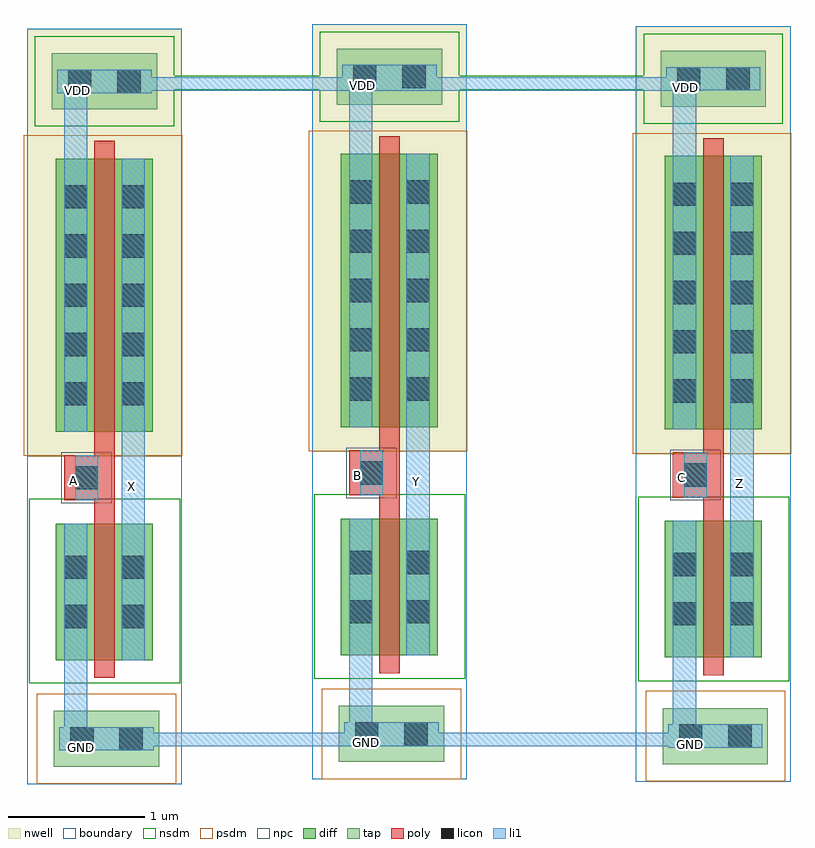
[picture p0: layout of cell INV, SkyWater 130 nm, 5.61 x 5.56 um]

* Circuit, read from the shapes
.subckt INV A B C GND VDD X Y Z
XM1 X A GND GND sky130_fd_pr__nfet_01v8 w=1 l=0.15
XM2 Y B GND GND sky130_fd_pr__nfet_01v8 w=1 l=0.15
XM3 Z C GND GND sky130_fd_pr__nfet_01v8 w=1 l=0.15
XM4 X A VDD VDD sky130_fd_pr__pfet_01v8 w=2 l=0.15
XM5 Y B VDD VDD sky130_fd_pr__pfet_01v8 w=2 l=0.15
XM6 Z C VDD VDD sky130_fd_pr__pfet_01v8 w=2 l=0.15
.ends

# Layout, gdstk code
from math import pi, radians
import gdstk
lib = gdstk.Library(unit=1e-6, precision=1e-09)
def R(c, l, rs):  # rectangles x0, y0, x1, y1
    for r in rs: c.add(gdstk.rectangle(r[:2], r[2:], *l))
def A(c, l, x, y, w, h, nx, ny, dx, dy):  # array of equal rectangles
    R(c, l, [(x+i*dx, y+j*dy, x+i*dx+w, y+j*dy+h) for i in range(nx) for j in range(ny)])
def P(c, l, *ps):  # polygons
    for p in ps: c.add(gdstk.Polygon(p, *l))
nwell = (64, 20)
diff = (65, 20)
tap = (65, 44)
poly = (66, 20)
licon = (66, 44)
li1 = (67, 20)
nsdm = (93, 44)
psdm = (94, 20)
npc = (95, 20)
boundary = (235, 4)

mosfet_2 = lib.new_cell('MOSFET$2')
R(mosfet_2, nwell, [(-0.325,-0.18,0.745,2.18)])
R(mosfet_2, diff, [(-0.145,0,0.565,2)])
R(mosfet_2, poly, [(0.135,-0.13,0.285,2.13)])
A(mosfet_2, licon, -0.085, 0.195, 0.17, 0.17, 1, 5, 0, 0.36)
A(mosfet_2, licon, 0.335, 0.195, 0.17, 0.17, 1, 5, 0, 0.36)
R(mosfet_2, li1, [(-0.085,0,0.085,2), (0.335,0,0.505,2)])
R(mosfet_2, psdm, [(-0.27,-0.125,0.69,2.125)])
R(mosfet_2, boundary, [(0,0,0.42,2)])

mosfet = lib.new_cell('MOSFET')
R(mosfet, diff, [(-0.145,0,0.565,1)])
R(mosfet, poly, [(0.135,-0.13,0.285,1.13)])
R(mosfet, licon, [(-0.085,0.235,0.085,0.405), (0.335,0.235,0.505,0.405), (-0.085,0.595,0.085,0.765), (0.335,0.595,0.505,0.765)])
R(mosfet, li1, [(-0.085,0,0.085,1), (0.335,0,0.505,1)])
R(mosfet, nsdm, [(-0.27,-0.125,0.69,1.125)])
R(mosfet, boundary, [(0,0,0.42,1)])

contact_5 = lib.new_cell('Contact$5')
R(contact_5, tap, [(-0.385,-0.205,0.385,0.205)])
R(contact_5, licon, [(-0.265,-0.085,-0.095,0.085), (0.095,-0.085,0.265,0.085)])
R(contact_5, li1, [(-0.345,-0.085,0.345,0.085)])
R(contact_5, psdm, [(-0.51,-0.33,0.51,0.33)])

contact_4 = lib.new_cell('Contact$4')
R(contact_4, nwell, [(-0.565,-0.385,0.565,0.385)])
R(contact_4, tap, [(-0.385,-0.205,0.385,0.205)])
R(contact_4, licon, [(-0.265,-0.085,-0.095,0.085), (0.095,-0.085,0.265,0.085)])
R(contact_4, li1, [(-0.345,-0.085,0.345,0.085)])
R(contact_4, nsdm, [(-0.51,-0.33,0.51,0.33)])

contact_1 = lib.new_cell('Contact$1')
R(contact_1, poly, [(-0.165,-0.165,0.165,0.165)])
R(contact_1, licon, [(-0.085,-0.085,0.085,0.085)])
R(contact_1, li1, [(-0.085,-0.165,0.085,0.165)])
R(contact_1, npc, [(-0.185,-0.185,0.185,0.185)])

inv = lib.new_cell('INV')
R(inv, nwell, [(-0.33,-0.2,0.8,2.325), (4.125,-0.184,5.255,2.341), (1.755,-0.166,2.885,2.359)])
P(inv, poly, [(0.16,-0.675),(0.16,-0.055),(0.31,-0.055),(0.31,-0.675),(0.18,-0.675)],
  [(4.615,-0.655),(4.615,-0.035),(4.765,-0.035),(4.765,-0.655),(4.635,-0.655)],
  [(2.245,-0.64),(2.245,-0.02),(2.395,-0.02),(2.395,-0.64),(2.265,-0.64)])
R(inv, li1, [(0.36,-0.845,0.53,0.49), (4.815,-0.829,4.985,0.506), (2.445,-0.811,2.615,0.524)])
R(inv, nsdm, [(-0.315,-1.86,0.79,-0.51), (4.14,-1.844,5.245,-0.494), (1.77,-1.826,2.875,-0.476)])
R(inv, psdm, [(-0.355,-0.195,0.805,2.15), (4.1,-0.179,5.26,2.166), (1.73,-0.161,2.89,2.184)])
R(inv, boundary, [(-0.331,-2.596,0.8,2.931), (4.124,-2.58,5.255,2.947), (1.754,-2.562,2.885,2.965)])
inv.add(gdstk.FlexPath([(0.285,2.535),(4.745,2.535)], 0.1, ends="flush", simple_path=True, layer=93, datatype=44))  # nsdm
inv.add(gdstk.FlexPath([(0.27,-2.27),(4.725,-2.27),(4.725,-2.24)], 0.1, ends="flush", simple_path=True, layer=67, datatype=20))  # li1
inv.add(gdstk.FlexPath([(0.38,2.525),(4.615,2.525)], 0.1, ends="flush", simple_path=True, layer=67, datatype=20))  # li1
inv.add(gdstk.FlexPath([(0.025,-2.326),(0.025,-0.791)], 0.17, ends="flush", simple_path=True, layer=67, datatype=20))  # li1
inv.add(gdstk.FlexPath([(4.48,-2.306),(4.48,-0.771)], 0.17, ends="flush", simple_path=True, layer=67, datatype=20))  # li1
inv.add(gdstk.FlexPath([(2.11,-2.291),(2.11,-0.756)], 0.17, ends="flush", simple_path=True, layer=67, datatype=20))  # li1
inv.add(gdstk.FlexPath([(0.025,2.545),(0.025,0.37)], 0.17, ends="flush", simple_path=True, layer=67, datatype=20))  # li1
inv.add(gdstk.FlexPath([(4.48,2.565),(4.48,0.39)], 0.17, ends="flush", simple_path=True, layer=67, datatype=20))  # li1
inv.add(gdstk.FlexPath([(2.11,2.58),(2.11,0.405)], 0.17, ends="flush", simple_path=True, layer=67, datatype=20))  # li1
inv.add(gdstk.Reference(mosfet_2, (0.025,-0.02)))
inv.add(gdstk.Reference(mosfet_2, (4.48,0)))
inv.add(gdstk.Reference(mosfet_2, (2.11,0.015)))
inv.add(gdstk.Reference(mosfet, (0.445,-0.69), rotation=pi))
inv.add(gdstk.Reference(mosfet, (4.9,-0.67), rotation=pi))
inv.add(gdstk.Reference(mosfet, (2.53,-0.655), rotation=pi))
inv.add(gdstk.Reference(contact_5, (0.25,-2.265), rotation=pi))
inv.add(gdstk.Reference(contact_5, (4.705,-2.245), rotation=pi))
inv.add(gdstk.Reference(contact_5, (2.335,-2.23), rotation=pi))
inv.add(gdstk.Reference(contact_4, (0.235,2.545)))
inv.add(gdstk.Reference(contact_4, (4.69,2.565)))
inv.add(gdstk.Reference(contact_4, (2.32,2.58)))
inv.add(gdstk.Reference(contact_1, (0.105,-0.355)))
inv.add(gdstk.Reference(contact_1, (4.56,-0.335)))
inv.add(gdstk.Reference(contact_1, (2.19,-0.32)))
inv.add(gdstk.Label('Z', (4.885,-0.4), layer=67, texttype=5))
inv.add(gdstk.Label('Y', (2.515,-0.385), layer=67, texttype=5))
inv.add(gdstk.Label('VDD', (0.035,2.48), layer=67, texttype=5))
inv.add(gdstk.Label('VDD', (4.49,2.5), layer=67, texttype=5))
inv.add(gdstk.Label('VDD', (2.12,2.515), layer=67, texttype=5))
inv.add(gdstk.Label('X', (0.43,-0.42), layer=67, texttype=5))
inv.add(gdstk.Label('GND', (0.065,-2.33), layer=67, texttype=5))
inv.add(gdstk.Label('GND', (4.52,-2.31), layer=67, texttype=5))
inv.add(gdstk.Label('GND', (2.15,-2.295), layer=67, texttype=5))
inv.add(gdstk.Label('A', (0.005,-0.375), layer=66, texttype=5))
inv.add(gdstk.Label('C', (4.46,-0.355), layer=66, texttype=5))
inv.add(gdstk.Label('B', (2.09,-0.34), layer=66, texttype=5))

lib.write_gds('INV.gds')
